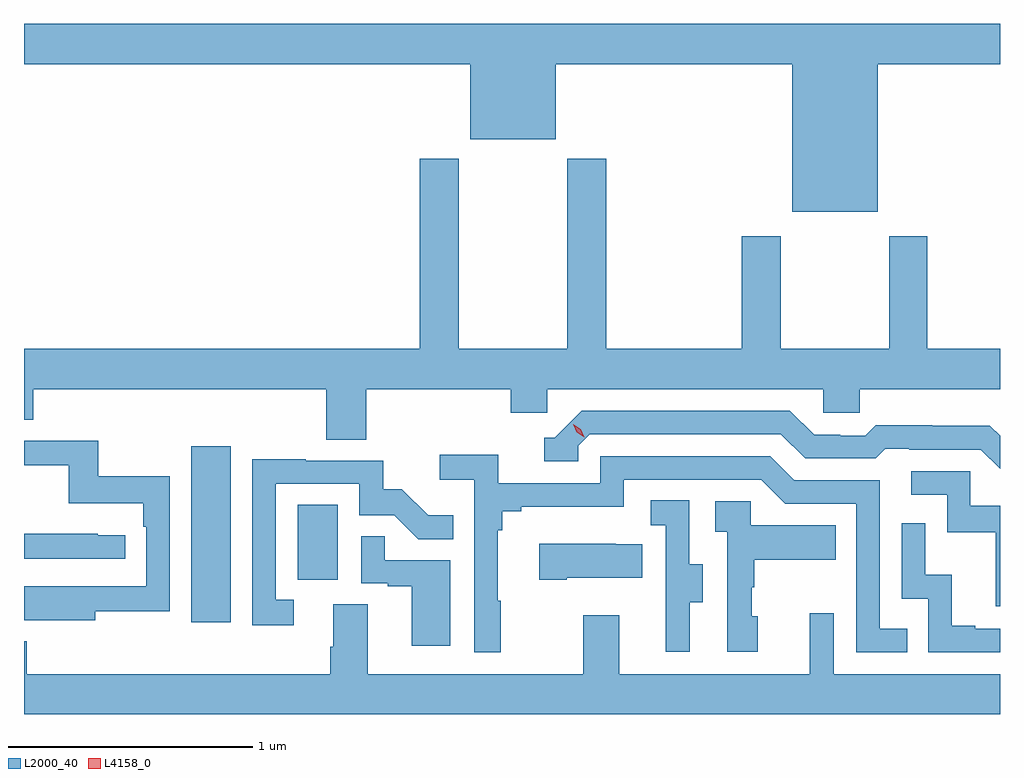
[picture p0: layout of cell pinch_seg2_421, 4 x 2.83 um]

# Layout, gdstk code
import gdstk
lib = gdstk.Library(unit=1e-6, precision=1e-09)
def R(c, l, rs):  # rectangles x0, y0, x1, y1
    for r in rs: c.add(gdstk.rectangle(r[:2], r[2:], *l))
def P(c, l, *ps):  # polygons
    for p in ps: c.add(gdstk.Polygon(p, *l))
L2000_40 = (2000, 40)
L4158_0 = (4158, 0)

pinch_seg2_421 = lib.new_cell('pinch_seg2_421')
R(pinch_seg2_421, L2000_40, [(928.787,614.712,928.948,615.433), (929.222,614.886,929.386,615.193)])
P(pinch_seg2_421, L2000_40, [(931.6,617),(932.101,617),(932.101,617.164),(928.101,617.164),(928.101,617),(929.93,617),(929.93,616.691),(930.28,616.691),(930.28,617),(931.25,617),(931.25,616.394),(931.6,616.394)],
  [(929.504,615.668),(930.095,615.668),(930.095,615.57),(930.246,615.57),(930.246,615.668),(931.377,615.668),(931.377,615.57),(931.527,615.57),(931.527,615.668),(932.101,615.668),(932.101,615.832),(931.803,615.832),(931.803,616.294),(931.648,616.294),(931.648,615.832),(931.203,615.832),(931.203,616.294),(931.043,616.294),(931.043,615.832),(930.488,615.832),(930.488,616.612),(930.328,616.612),(930.328,615.832),(929.883,615.832),(929.883,616.612),(929.723,616.612),(929.723,615.832),(928.101,615.832),(928.101,615.541),(928.139,615.541),(928.139,615.668),(929.339,615.668),(929.339,615.46),(929.504,615.46)],
  [(932.101,615.476),(932.06,615.517),(931.824,615.517),(931.824,615.52),(931.591,615.52),(931.549,615.477),(931.446,615.477),(931.446,615.48),(931.339,615.48),(931.24,615.579),(930.387,615.579),(930.276,615.468),(930.233,615.468),(930.233,615.372),(930.372,615.372),(930.372,615.435),(930.42,615.483),(931.203,615.483),(931.302,615.384),(931.591,615.384),(931.63,615.423),(931.729,615.423),(931.729,615.42),(932.022,615.42),(932.101,615.341)],
  [(928.393,614.758),(928.698,614.758),(928.698,615.31),(928.405,615.31),(928.405,615.456),(928.101,615.456),(928.101,615.355),(928.284,615.355),(928.284,615.2),(928.589,615.2),(928.589,615.104),(928.602,615.104),(928.602,614.859),(928.289,614.859),(928.289,614.86),(928.101,614.86),(928.101,614.72),(928.393,614.72)],
  [(930.055,614.801),(930.043,614.801),(930.043,615.089),(930.062,615.089),(930.062,615.166),(930.139,615.166),(930.139,615.185),(930.558,615.185),(930.558,615.297),(931.122,615.297),(931.221,615.198),(931.512,615.198),(931.512,614.589),(931.721,614.589),(931.721,614.685),(931.608,614.685),(931.608,615.294),(931.258,615.294),(931.159,615.393),(930.462,615.393),(930.462,615.282),(930.044,615.282),(930.044,615.398),(929.805,615.398),(929.805,615.296),(929.946,615.296),(929.946,614.589),(930.055,614.589)],
  [(929.206,614.805),(929.133,614.805),(929.133,615.279),(929.475,615.279),(929.475,615.15),(929.619,615.15),(929.717,615.052),(929.861,615.052),(929.861,615.151),(929.757,615.151),(929.65,615.258),(929.574,615.258),(929.574,615.375),(929.255,615.375),(929.255,615.38),(929.037,615.38),(929.037,614.7),(929.206,614.7)],
  [(932.101,615.189),(931.98,615.189),(931.98,615.33),(931.737,615.33),(931.737,615.234),(931.884,615.234),(931.884,615.081),(932.083,615.081),(932.083,614.778),(932.101,614.778)],
  [(930.829,614.794),(930.883,614.794),(930.883,614.949),(930.828,614.949),(930.828,615.212),(930.669,615.212),(930.669,615.109),(930.732,615.109),(930.732,614.805),(930.731,614.805),(930.731,614.592),(930.829,614.592)],
  [(931.108,614.736),(931.083,614.736),(931.083,614.855),(931.093,614.855),(931.093,614.969),(931.427,614.969),(931.427,615.109),(931.08,615.109),(931.08,615.207),(930.933,615.207),(930.933,615.083),(930.984,615.083),(930.984,614.592),(931.108,614.592)],
  [(932.101,614.685),(931.999,614.685),(931.999,614.698),(931.904,614.698),(931.904,614.906),(931.794,614.906),(931.794,615.118),(931.698,615.118),(931.698,614.808),(931.806,614.808),(931.806,614.589),(932.101,614.589)],
  [(928.516,615.069),(928.403,615.069),(928.403,615.074),(928.101,615.074),(928.101,614.973),(928.516,614.973)],
  [(929.848,614.967),(929.579,614.967),(929.579,615.065),(929.484,615.065),(929.484,614.871),(929.591,614.871),(929.591,614.859),(929.69,614.859),(929.69,614.616),(929.848,614.616)],
  [(930.325,614.894),(930.635,614.894),(930.635,615.031),(930.527,615.031),(930.527,615.034),(930.213,615.034),(930.213,614.887),(930.325,614.887)],
  [(932.101,614.5),(931.419,614.5),(931.419,614.749),(931.322,614.749),(931.322,614.5),(930.541,614.5),(930.541,614.74),(930.394,614.74),(930.394,614.5),(929.509,614.5),(929.509,614.786),(929.369,614.786),(929.369,614.612),(929.357,614.612),(929.357,614.5),(928.112,614.5),(928.112,614.635),(928.101,614.635),(928.101,614.336),(932.101,614.336)])
P(pinch_seg2_421, L4158_0, [(930.398,615.471),(930.367,615.49),(930.352,615.523),(930.352,615.523),(930.352,615.523),(930.382,615.504),(930.398,615.471),(930.398,615.471)])

lib.write_gds('pinch_seg2_421.gds')
